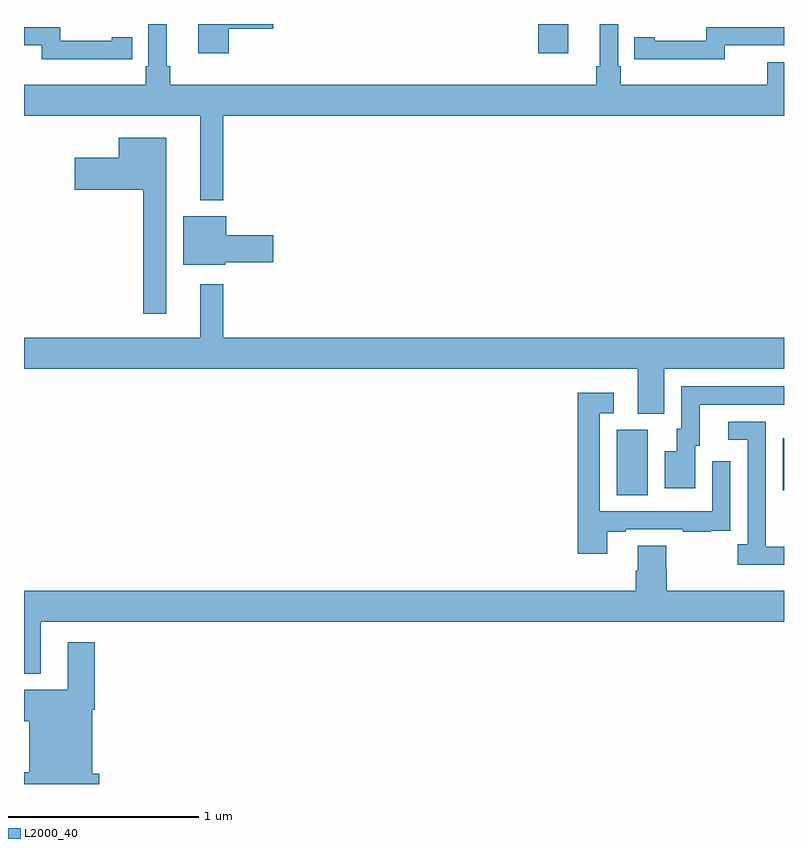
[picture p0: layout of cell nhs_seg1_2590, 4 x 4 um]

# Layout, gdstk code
import gdstk
lib = gdstk.Library(unit=1e-6, precision=1e-09)
def R(c, l, rs):  # rectangles x0, y0, x1, y1
    for r in rs: c.add(gdstk.rectangle(r[:2], r[2:], *l))
def P(c, l, *ps):  # polygons
    for p in ps: c.add(gdstk.Polygon(p, *l))
L2000_40 = (2000, 40)

nhs_seg1_2590 = lib.new_cell('nhs_seg1_2590')
R(nhs_seg1_2590, L2000_40, [(254.12,565.72,254.284,566.064), (254.993,565.745,255,566.02), (253.706,568.044,253.864,568.199)])
P(nhs_seg1_2590, L2000_40, [(251.752,567.976),(251.752,568.199),(251.655,568.199),(251.655,567.976),(251.642,567.976),(251.642,567.88),(251,567.88),(251,567.716),(251.927,567.716),(251.927,567.272),(252.049,567.272),(252.049,567.716),(255,567.716),(255,567.997),(254.912,567.997),(254.912,567.88),(254.141,567.88),(254.141,567.976),(254.127,567.976),(254.127,568.199),(254.03,568.199),(254.03,567.976),(254.011,567.976),(254.011,567.88),(251.771,567.88),(251.771,567.976)],
  [(252.077,568.174),(252.313,568.174),(252.313,568.199),(251.918,568.199),(251.918,568.044),(252.077,568.044)],
  [(254.688,568.086),(255,568.086),(255,568.182),(254.592,568.182),(254.592,568.11),(254.32,568.11),(254.32,568.13),(254.212,568.13),(254.212,568.014),(254.32,568.014),(254.32,568.013),(254.688,568.013)],
  [(251.462,568.014),(251.57,568.014),(251.57,568.13),(251.462,568.13),(251.462,568.11),(251.19,568.11),(251.19,568.182),(251,568.182),(251,568.086),(251.094,568.086),(251.094,568.013),(251.462,568.013)],
  [(251.749,567.601),(251.498,567.601),(251.498,567.496),(251.268,567.496),(251.268,567.326),(251.628,567.326),(251.628,566.673),(251.749,566.673)],
  [(252.06,566.944),(252.313,566.944),(252.313,567.086),(252.064,567.086),(252.064,567.187),(251.837,567.187),(251.837,566.933),(252.06,566.933)],
  [(254.371,566.384),(255,566.384),(255,566.548),(252.049,566.548),(252.049,566.83),(251.927,566.83),(251.927,566.548),(251,566.548),(251,566.384),(254.231,566.384),(254.231,566.149),(254.371,566.149)],
  [(254.533,565.98),(254.557,565.98),(254.557,566.196),(255,566.196),(255,566.292),(254.46,566.292),(254.46,566.07),(254.435,566.07),(254.435,565.951),(254.372,565.951),(254.372,565.755),(254.533,565.755)],
  [(254.071,565.527),(254.167,565.527),(254.167,565.539),(254.467,565.539),(254.467,565.527),(254.615,565.527),(254.615,565.533),(254.717,565.533),(254.717,565.642),(254.718,565.642),(254.718,565.897),(254.622,565.897),(254.622,565.635),(254.031,565.635),(254.031,566.151),(254.104,566.151),(254.104,566.257),(253.915,566.257),(253.915,565.41),(254.071,565.41)],
  [(255,565.449),(254.905,565.449),(254.905,565.649),(254.904,565.649),(254.904,566.106),(254.706,566.106),(254.706,566.01),(254.808,566.01),(254.808,565.462),(254.757,565.462),(254.757,565.352),(255,565.352)],
  [(251.089,565.052),(255,565.052),(255,565.216),(254.384,565.216),(254.384,565.329),(254.379,565.329),(254.379,565.454),(254.231,565.454),(254.231,565.322),(254.219,565.322),(254.219,565.216),(251,565.216),(251,564.779),(251.089,564.779)],
  [(251.396,564.252),(251.359,564.252),(251.359,564.59),(251.372,564.59),(251.372,564.946),(251.231,564.946),(251.231,564.694),(251,564.694),(251,564.53),(251.027,564.53),(251.027,564.26),(251,564.26),(251,564.199),(251.396,564.199)])

lib.write_gds('nhs_seg1_2590.gds')
